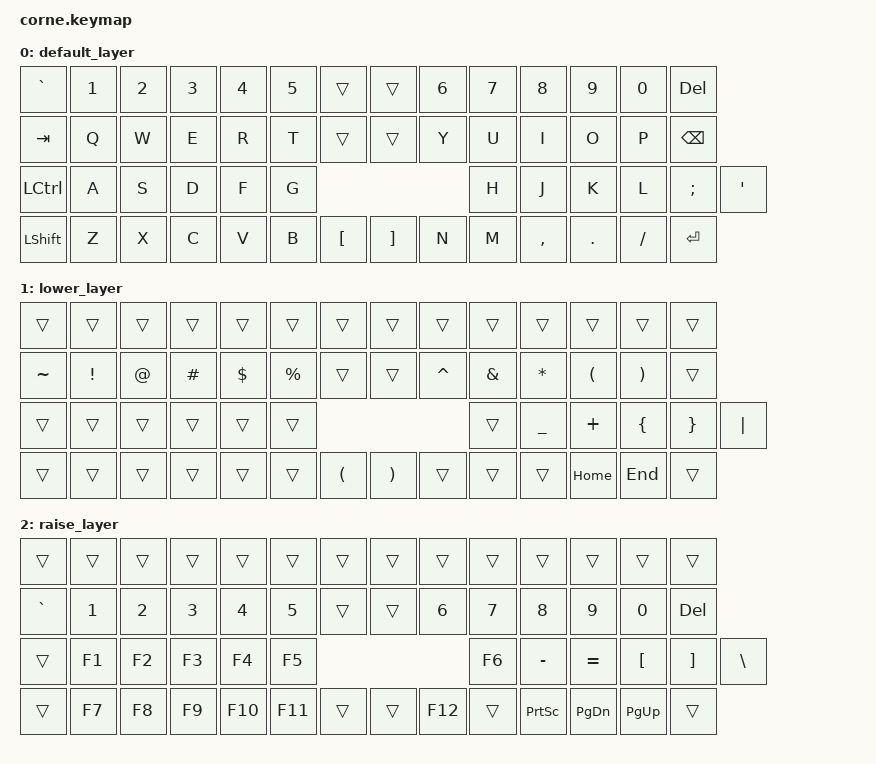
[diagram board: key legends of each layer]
// #include "../../../corne.keymap"

/*
 * Copyright (c) 2020 The ZMK Contributors
 *
 * SPDX-License-Identifier: MIT
 */

#include <behaviors.dtsi>
#include <dt-bindings/zmk/keys.h>
#include <dt-bindings/zmk/bt.h>

/ {
       keymap {
              compatible = "zmk,keymap";

              default_layer {
 // ---------------------------------------------------------------------------------------------------------------------------------
 // | GRAVE  |   1    |   2    |   3    |   4    |   5    |  LBKT  |                    |  RBKT  |   6    |   7    |   8    |   9    |   0    |  DEL   |
 // |  TAB   |   Q    |   W    |   E    |   R    |   T    |  LBKT  |                    |  RBKT  |   Y    |   U    |   I    |   O    |   P    |  BSPC  |
 // |  CTRL  |   A    |   S    |   D    |   F    |   G    |                                      |   H    |   J    |   K    |   L    |   ;    |   '    |
 // |  SHIFT |   Z    |   X    |   C    |   V    |   B    |  LBKT  |                    |  RBKT  |   N    |   M    |   ,    |   .    |   /    |  RET   |
                     bindings = <
       &kp GRAVE  &kp N1  &kp N2   &kp N3   &kp N4    &kp N5 &trans        &trans  &kp N6    &kp N7    &kp N8    &kp N9     &kp N0    &kp DEL
       &kp TAB    &kp Q   &kp W    &kp E    &kp R     &kp T  &trans        &trans  &kp Y     &kp U     &kp I     &kp O      &kp P     &kp BSPC
       &kp LCTRL  &kp A   &kp S    &kp D    &kp F     &kp G                                &kp H     &kp J     &kp K     &kp L      &kp SEMI  &kp SQT
       &kp LSHFT  &kp Z   &kp X    &kp C    &kp V     &kp B     &kp LBKT         &kp RBKT  &kp N     &kp M     &kp COMMA &kp PERIOD &kp SLASH &kp RET
                     >;
              };
              lower_layer {
 // ---------------------------------------------------------------------------------------------------------------------------------
 // |      |      |      |      |      |      |    |                    |    |      |      |      |      |      |      |
 // |  ~   |  !   |  @   |  #   |  $   |  %   |    |                    |    |  ^   |  &   |  *   |  (   |  )   |      |
 // |      |      |      |      |      |      |                                  |      |  _   |  +   |  {   |  }   | PIPE |
 // |      |      |      |      |      |      |  (   |                    |  )   |      |      |      | HOME | END  |      |
                     bindings = <
       &trans    &trans   &trans &trans   &trans   &trans    &trans        &trans &trans    &trans    &trans    &trans   &trans   &trans
       &kp TILDE &kp EXCL &kp AT &kp HASH &kp DLLR &kp PRCNT  &trans        &trans &kp CARET &kp AMPS  &kp ASTRK &kp LPAR &kp RPAR &trans
       &trans    &trans   &trans &trans   &trans   &trans                             &trans    &kp UNDER &kp PLUS  &kp LBRC &kp RBRC &kp PIPE
       &trans    &trans   &trans &trans   &trans   &trans    &kp LPAR        &kp RPAR &trans    &trans    &trans    &kp HOME &kp END  &trans
                     >;
              };
              raise_layer {
 // ---------------------------------------------------------------------------------------------------------------------------------
 // |       |       |       |       |       |       |                                    |       |       |       |       |       |       |
 // |   `   |   1   |   2   |   3   |   4   |   5   |                                    |   6   |   7   |   8   |   9   |   0   |  DEL  |
 // |       |  F1   |  F2   |  F3   |  F4   |  F5   |                                    |  F6   |   -   |   =   |   [   |   ]   |   \   |
 // |       |  F7   |  F8   |  F9   |  F10  |  F11  |       |                    |       |  F12  |       | PSCRN | PG_DN | PG_UP |       |
                     bindings = <
       &trans    &trans &trans &trans &trans  &trans &trans        &trans &trans  &trans    &trans     &trans       &trans       &trans
       &kp GRAVE &kp N1 &kp N2 &kp N3 &kp N4  &kp N5 &trans        &trans &kp N6  &kp N7    &kp N8     &kp N9       &kp N0       &kp DEL
       &trans    &kp F1 &kp F2 &kp F3 &kp F4  &kp F5                       &kp F6  &kp MINUS &kp EQUAL  &kp LBKT     &kp RBKT     &kp BSLH
       &trans    &kp F7 &kp F8 &kp F9 &kp F10 &kp F11 &trans        &trans &kp F12 &trans    &kp PSCRN  &kp PG_DN    &kp PG_UP    &trans

                     >;
              };
       };
};
